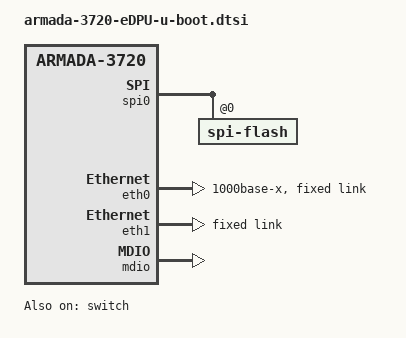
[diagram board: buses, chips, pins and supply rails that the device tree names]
// SPDX-License-Identifier: GPL-2.0+

/ {
	smbios {
		compatible = "u-boot,sysinfo-smbios";

		smbios {
			system {
				product = "eDPU";
			};

			baseboard {
				product = "eDPU";
			};

			chassis {
				product = "eDPU";
			};
		};
	};
};

&spi0 {
	bootph-all;

	spi-flash@0 {
		bootph-all;
	};
};

&sdhci0 {
	bootph-all;
};

&eth0 {
	phy-mode = "1000base-x";

	fixed-link {
		speed = <1000>;
		full-duplex;
	};
};

&eth1 {
	fixed-link {
		speed = <1000>;
		full-duplex;
	};
};

/*
 * eDPU v2 has a MV88E6361 switch on the MDIO bus and U-boot is used
 * to patch the Linux DTS if its found so enable MDIO by default.
 */
&mdio {
	status = "okay";
};

&switch {
	status = "okay";

	mdio {};

	ports {
		port@0 {
			phy-mode = "1000base-x";

			fixed-link {
				speed = <1000>;
				full-duplex;
			};
		};

		port@1 {
			status = "disabled";
			reg = <1>;
		};

		port@2 {
			status = "disabled";
			reg = <2>;
		};

		port@3 {
			status = "disabled";
			reg = <3>;
		};

		port@4 {
			status = "disabled";
			reg = <4>;
		};

		port@5 {
			status = "disabled";
			reg = <5>;
		};

		port@6 {
			status = "disabled";
			reg = <6>;
		};

		port@7 {
			status = "disabled";
			reg = <7>;
		};

		port@8 {
			status = "disabled";
			reg = <8>;
		};

		port@a {
			//phy-mode = "1000base-x";
			phy-mode = "sgmii";

			fixed-link {
				speed = <1000>;
				full-duplex;
			};
		};
	};
};
